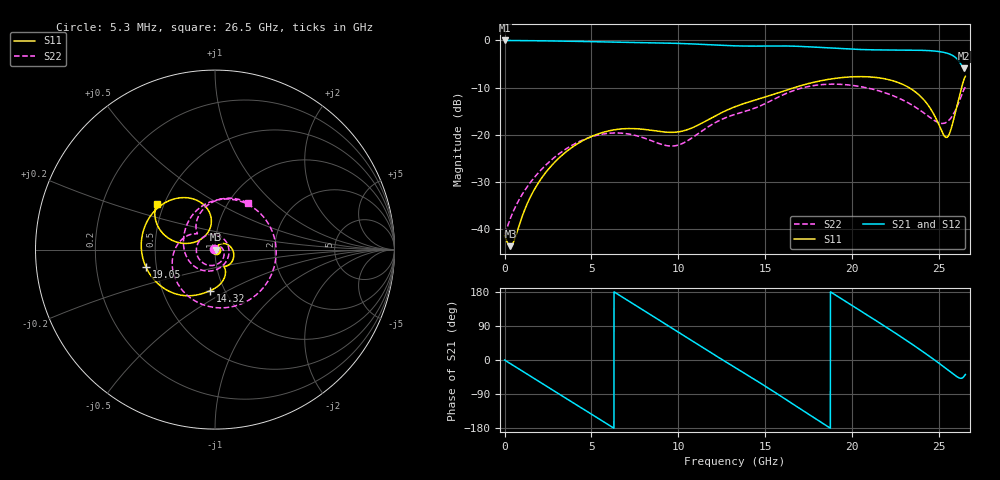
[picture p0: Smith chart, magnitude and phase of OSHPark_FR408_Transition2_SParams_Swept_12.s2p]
! TOUCHSTONE file generated by CST MICROWAVE STUDIO
! Date and time: Tue Jan  7 09:43:19 2020
! Project name: OSHPark_FR408_Transition2.cst
! Parameters = {GND_Plane_XMax=12.5; Cap_Disk_XOffset=0; Cap_Disk2_YCenter=-1.03; Cap_Disk_YCenter=1.03; Cap_Disk_XCenter=7.39; Cap_Disk_Radius=0.5; BottomSupport_Left_YMax=4.76; BottomSupport_Left_YMin=3.74; BottomSupport_Right_YMax=-3.74; BottomSupport_Right_YMin=-4.76; BottomSupport_XMax=11.64; B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
! Header version: 2015
! Port assignment regex: !\s*Touchstone port\s*([0-9]+)\s*=\s*CST MWS port\s*([0-9]+)\s*\(\"(.*)\"\)(\s*mode\s*([0-9]+))?.*
! Touchstone port assignment:
! Touchstone port 1 = CST MWS port 1 ("")
! Touchstone port 2 = CST MWS port 2 ("")
# GHz S MA R 50
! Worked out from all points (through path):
!   5000 points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, 5.3 MHz to 26.5 GHz, reference 50 ohm
!   highest |S21| = 0.00 dB at 5.3 MHz (marker M1); lowest = -5.9 dB at 26.42 GHz (marker M2)
!   group delay of S21, straight-line fit = 80.7 ps
!   lowest |S11| = -43.7 dB at 339.2 MHz (marker M3), VSWR 1.01, Z = 50.7 + j0.00492 ohm
!   |S11| at or under -10 dB: start of sweep to 16.66 GHz; 23.25 GHz to 26.28 GHz (3.029 GHz wide, 12.2 % of centre)
!   |S22| runs from -41.1 to -9.3 dB; largest |S21 - S12| = 0
!   S11 on the Smith chart (normalised r, x): 5.3 MHz: 1.01, -0.01; 14.32 GHz: 0.86, -0.41; 19.05 GHz: 0.44, -0.10; 26.5 GHz: 0.45, +0.29
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0.0053  0.008486 -34.7  1 -0.2  1 -0.2  0.008817 142.3
0.3392  0.006551 0.4  0.999 -9.7  0.999 -9.7  0.01295 109.6
2.5016  0.0425 46.9  0.9892 -71.6  0.9892 -71.6  0.05004 -11.0
4.4255  0.08481 13.3  0.9758 -126.7  0.9758 -126.7  0.08666 -91.4
5.5226  0.1039 -8.3  0.9673 -158.0  0.9673 -158.0  0.1005 -134.1
6.5561  0.1143 -28.0  0.9595 172.4  0.9595 172.4  0.1041 -174.9
7.6055  0.1155 -45.5  0.9519 142.4  0.9519 142.4  0.09732 140.4
8.8404  0.1086 -59.1  0.9422 106.9  0.9422 106.9  0.08102 76.9
10.0223  0.1073 -62.2  0.9298 72.7  0.9298 72.7  0.07786 -0.9
11.3208  0.1318 -63.8  0.9099 35.1  0.9099 35.1  0.1086 -81.0
13.2553  0.1979 -82.9  0.8767 -19.9  0.8767 -19.9  0.1642 -167.3
14.3206  0.2303 -96.5  0.8711 -49.8  0.8711 -49.8  0.1892 156.5
15.9689  0.2875 -116.8  0.8747 -97.9  0.8747 -97.9  0.2623 99.4
17.6702  0.356 -142.3  0.8526 -148.7  0.8526 -148.7  0.3296 27.7
19.0482  0.3968 -165.7  0.824 170.9  0.824 170.9  0.3435 -31.2
20.6806  0.4127 164.7  0.7994 123.7  0.7994 123.7  0.3183 -96.5
22.0851  0.3838 137.9  0.7916 82.6  0.7916 82.6  0.27 -147.2
23.9772  0.249 102.8  0.7858 24.5  0.7858 24.5  0.1772 155.3
25.4029  0.09337 130.7  0.7365 -23.1  0.7365 -23.1  0.1351 137.2
26.0866  0.228 168.5  0.6167 -46.1  0.6167 -46.1  0.2119 114.7
26.4205  0.3865 150.1  0.5078 -43.1  0.5078 -43.1  0.3028 70.6
26.5  0.4158 141.1  0.5262 -38.2  0.5262 -38.2  0.3181 53.2
